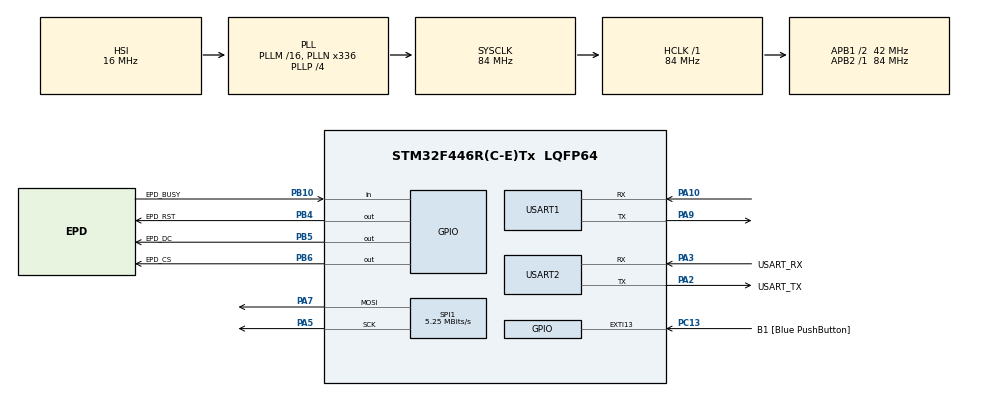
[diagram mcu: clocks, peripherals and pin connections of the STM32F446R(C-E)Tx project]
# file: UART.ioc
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Mcu.Family=STM32F4
Mcu.Name=STM32F446R(C-E)Tx
Mcu.Package=LQFP64
NVIC.PriorityGroup=NVIC_PRIORITYGROUP_0
PA10.Mode=Asynchronous
PA10.Signal=USART1_RX
PA13.GPIO_Label=TMS
PA13.Signal=SYS_JTMS-SWDIO
PA14.GPIO_Label=TCK
PA14.Signal=SYS_JTCK-SWCLK
PA2.GPIO_Label=USART_TX
PA2.Mode=Asynchronous
PA2.Signal=USART2_TX
PA3.GPIO_Label=USART_RX
PA3.Mode=Asynchronous
PA3.Signal=USART2_RX
PA5.Mode=TX_Only_Simplex_Unidirect_Master
PA5.Signal=SPI1_SCK
PA7.Mode=TX_Only_Simplex_Unidirect_Master
PA7.Signal=SPI1_MOSI
PA9.Mode=Asynchronous
PA9.Signal=USART1_TX
PB10.GPIO_Label=EPD_BUSY
PB10.Signal=GPIO_Input
PB3.GPIO_Label=SWO
PB3.Signal=SYS_JTDO-SWO
PB4.GPIO_Label=EPD_RST
PB4.PinState=GPIO_PIN_SET
PB4.Signal=GPIO_Output
PB5.GPIO_Label=EPD_DC
PB5.Signal=GPIO_Output
PB6.GPIO_Label=EPD_CS
PB6.PinState=GPIO_PIN_SET
PB6.Signal=GPIO_Output
PC13.GPIO_Label=B1 [Blue PushButton]
PC13.GPIO_ModeDefaultEXTI=GPIO_MODE_IT_FALLING
PC13.Signal=GPXTI13
PC14-OSC32_IN.Signal=RCC_OSC32_IN
PC15-OSC32_OUT.Signal=RCC_OSC32_OUT
PH0-OSC_IN.Signal=RCC_OSC_IN
PH1-OSC_OUT.Signal=RCC_OSC_OUT
ProjectManager.HeapSize=0x200
ProjectManager.StackSize=0x400
ProjectManager.TargetToolchain=CMake
RCC.AHBFreq_Value=84000000
RCC.APB1CLKDivider=RCC_HCLK_DIV2
RCC.APB1Freq_Value=42000000
RCC.APB1TimFreq_Value=84000000
RCC.APB2Freq_Value=84000000
RCC.APB2TimFreq_Value=84000000
RCC.CortexFreq_Value=84000000
RCC.FLatency-AdvancedSettings=FLASH_LATENCY_2
RCC.HCLKFreq_Value=84000000
RCC.HSE_VALUE=8000000
RCC.HSI_VALUE=16000000
RCC.LSE_VALUE=32768
RCC.PLLN=336
RCC.PLLP=RCC_PLLP_DIV4
RCC.SYSCLKFreq_VALUE=84000000
RCC.SYSCLKSource=RCC_SYSCLKSOURCE_PLLCLK
RCC.USBFreq_Value=168000000
RCC.VCOOutputFreq_Value=336000000
SPI1.BaudRatePrescaler=SPI_BAUDRATEPRESCALER_16
SPI1.CalculateBaudRate=5.25 MBits/s
SPI1.Direction=SPI_DIRECTION_2LINES
SPI1.Mode=SPI_MODE_MASTER
SPI1.VirtualType=VM_MASTER
USART1.VirtualMode=VM_ASYNC
USART2.VirtualMode=VM_ASYNC
board=NUCLEO-F446RE

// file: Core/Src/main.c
/* USER CODE BEGIN Header */
/**
  ******************************************************************************
  * @file           : main.c
  * @brief          : Main program body
  ******************************************************************************
  * @attention
  *
  * Copyright (c) 2026 STMicroelectronics.
  * All rights reserved.
  *
  * This software is licensed under terms that can be found in the LICENSE file
  * in the root directory of this software component.
  * If no LICENSE file comes with this software, it is provided AS-IS.
  *
  ******************************************************************************
  */
/* USER CODE END Header */
#include "main.h"

/* USER CODE BEGIN Includes */
#include "sps30.h"
#include "air_quality.h"
#include "epd.h"
#include "stm32f4xx_hal.h"
#include "stm32f4xx_hal_def.h"
/* USER CODE END Includes */

SPI_HandleTypeDef hspi1;

UART_HandleTypeDef huart1;
UART_HandleTypeDef huart2;

void SystemClock_Config(void);
static void MX_GPIO_Init(void);
static void MX_USART2_UART_Init(void);
static void MX_USART1_UART_Init(void);
static void MX_SPI1_Init(void);

int main(void)
{

  /* MCU Configuration--------------------------------------------------------*/

  /* Reset of all peripherals, Initializes the Flash interface and the Systick. */
  HAL_Init();

  /* Configure the system clock */
  SystemClock_Config();

  /* Initialize all configured peripherals */
  MX_GPIO_Init();
  MX_USART2_UART_Init();
  MX_USART1_UART_Init();
  MX_SPI1_Init();

  /* USER CODE BEGIN 2 */
  HAL_StatusTypeDef return_code;

  // init epaper display
  return_code = epd_init(&hspi1);
  if (return_code != HAL_OK)
  {
    HAL_Delay(1000);
  }
  epd_clear_screen();

  // draw top
  for (uint8_t i = 0; i < 20; ++i)
  {
    epd_draw_pixel(i+10, 5, 0);
  }

  // draw bottom
  for (uint8_t i = 0; i < 20; ++i)
  {
    epd_draw_pixel(i+10, 24, 0);
  }

  // draw right
  for (uint8_t i = 0; i < 20; ++i)
  {
    epd_draw_pixel(29, i+5, 0);
  }

  // draw left
  for (uint8_t i = 0; i < 20; ++i)
  {
    epd_draw_pixel(10, i+5, 0);
  }

  return_code = epd_update_display(&hspi1);
  if (return_code != HAL_OK)
  {
    HAL_Delay(1000);
  }

  // float pm_data[10] = {0}; // holds current pm data
  // uint32_t cycle_start;

  // if ((return_code = device_reset(huart1)) != HAL_OK) // reset device before starting loop
  // {
  //   return return_code;
  // }
  /* USER CODE END 2 */

  /* Infinite loop */
  while (1)
  {

    /* USER CODE BEGIN 3 */

  //   // record start of sampling cycle
    // cycle_start = HAL_GetTick(); // save when measurement started

  //   // collect average pm measurement
  //   return_code = sample_pm_data(huart1, pm_data, 10);

  //   // wait 5 minutes
  //   while ((uint32_t)(HAL_GetTick() - cycle_start) < 300000U)
  //   {
  //     HAL_Delay(1000);
  //   }
  //   if (return_code != HAL_OK)
  //   {
  //     HAL_Delay(5000);
  //   }
  }
  /* USER CODE END 3 */
}

void SystemClock_Config(void)
{
  RCC_OscInitTypeDef RCC_OscInitStruct = {0};
  RCC_ClkInitTypeDef RCC_ClkInitStruct = {0};

  /** Configure the main internal regulator output voltage
  */
  __HAL_RCC_PWR_CLK_ENABLE();
  __HAL_PWR_VOLTAGESCALING_CONFIG(PWR_REGULATOR_VOLTAGE_SCALE3);

  /** Initializes the RCC Oscillators according to the specified parameters
  * in the RCC_OscInitTypeDef structure.
  */
  RCC_OscInitStruct.OscillatorType = RCC_OSCILLATORTYPE_HSI;
  RCC_OscInitStruct.HSIState = RCC_HSI_ON;
  RCC_OscInitStruct.HSICalibrationValue = RCC_HSICALIBRATION_DEFAULT;
  RCC_OscInitStruct.PLL.PLLState = RCC_PLL_ON;
  RCC_OscInitStruct.PLL.PLLSource = RCC_PLLSOURCE_HSI;
  RCC_OscInitStruct.PLL.PLLM = 16;
  RCC_OscInitStruct.PLL.PLLN = 336;
  RCC_OscInitStruct.PLL.PLLP = RCC_PLLP_DIV4;
  RCC_OscInitStruct.PLL.PLLQ = 2;
  RCC_OscInitStruct.PLL.PLLR = 2;
  if (HAL_RCC_OscConfig(&RCC_OscInitStruct) != HAL_OK)
  {
    Error_Handler();
  }

  /** Initializes the CPU, AHB and APB buses clocks
  */
  RCC_ClkInitStruct.ClockType = RCC_CLOCKTYPE_HCLK|RCC_CLOCKTYPE_SYSCLK
                              |RCC_CLOCKTYPE_PCLK1|RCC_CLOCKTYPE_PCLK2;
  RCC_ClkInitStruct.SYSCLKSource = RCC_SYSCLKSOURCE_PLLCLK;
  RCC_ClkInitStruct.AHBCLKDivider = RCC_SYSCLK_DIV1;
  RCC_ClkInitStruct.APB1CLKDivider = RCC_HCLK_DIV2;
  RCC_ClkInitStruct.APB2CLKDivider = RCC_HCLK_DIV1;

  if (HAL_RCC_ClockConfig(&RCC_ClkInitStruct, FLASH_LATENCY_2) != HAL_OK)
  {
    Error_Handler();
  }
}

static void MX_SPI1_Init(void)
{

  /* SPI1 parameter configuration*/
  hspi1.Instance = SPI1;
  hspi1.Init.Mode = SPI_MODE_MASTER;
  hspi1.Init.Direction = SPI_DIRECTION_2LINES;
  hspi1.Init.DataSize = SPI_DATASIZE_8BIT;
  hspi1.Init.CLKPolarity = SPI_POLARITY_LOW;
  hspi1.Init.CLKPhase = SPI_PHASE_1EDGE;
  hspi1.Init.NSS = SPI_NSS_SOFT;
  hspi1.Init.BaudRatePrescaler = SPI_BAUDRATEPRESCALER_16;
  hspi1.Init.FirstBit = SPI_FIRSTBIT_MSB;
  hspi1.Init.TIMode = SPI_TIMODE_DISABLE;
  hspi1.Init.CRCCalculation = SPI_CRCCALCULATION_DISABLE;
  hspi1.Init.CRCPolynomial = 10;
  if (HAL_SPI_Init(&hspi1) != HAL_OK)
  {
    Error_Handler();
  }

}

static void MX_USART1_UART_Init(void)
{

  huart1.Instance = USART1;
  huart1.Init.BaudRate = 115200;
  huart1.Init.WordLength = UART_WORDLENGTH_8B;
  huart1.Init.StopBits = UART_STOPBITS_1;
  huart1.Init.Parity = UART_PARITY_NONE;
  huart1.Init.Mode = UART_MODE_TX_RX;
  huart1.Init.HwFlowCtl = UART_HWCONTROL_NONE;
  huart1.Init.OverSampling = UART_OVERSAMPLING_16;
  if (HAL_UART_Init(&huart1) != HAL_OK)
  {
    Error_Handler();
  }

}

static void MX_USART2_UART_Init(void)
{

  huart2.Instance = USART2;
  huart2.Init.BaudRate = 115200;
  huart2.Init.WordLength = UART_WORDLENGTH_8B;
  huart2.Init.StopBits = UART_STOPBITS_1;
  huart2.Init.Parity = UART_PARITY_NONE;
  huart2.Init.Mode = UART_MODE_TX_RX;
  huart2.Init.HwFlowCtl = UART_HWCONTROL_NONE;
  huart2.Init.OverSampling = UART_OVERSAMPLING_16;
  if (HAL_UART_Init(&huart2) != HAL_OK)
  {
    Error_Handler();
  }

}

static void MX_GPIO_Init(void)
{
  GPIO_InitTypeDef GPIO_InitStruct = {0};

  /* GPIO Ports Clock Enable */
  __HAL_RCC_GPIOC_CLK_ENABLE();
  __HAL_RCC_GPIOH_CLK_ENABLE();
  __HAL_RCC_GPIOA_CLK_ENABLE();
  __HAL_RCC_GPIOB_CLK_ENABLE();

  /*Configure GPIO pin Output Level */
  HAL_GPIO_WritePin(GPIOB, EPD_RST_Pin|EPD_CS_Pin, GPIO_PIN_SET);

  /*Configure GPIO pin Output Level */
  HAL_GPIO_WritePin(EPD_DC_GPIO_Port, EPD_DC_Pin, GPIO_PIN_RESET);

  /*Configure GPIO pin : B1_Pin */
  GPIO_InitStruct.Pin = B1_Pin;
  GPIO_InitStruct.Mode = GPIO_MODE_IT_FALLING;
  GPIO_InitStruct.Pull = GPIO_NOPULL;
  HAL_GPIO_Init(B1_GPIO_Port, &GPIO_InitStruct);

  /*Configure GPIO pin : EPD_BUSY_Pin */
  GPIO_InitStruct.Pin = EPD_BUSY_Pin;
  GPIO_InitStruct.Mode = GPIO_MODE_INPUT;
  GPIO_InitStruct.Pull = GPIO_NOPULL;
  HAL_GPIO_Init(EPD_BUSY_GPIO_Port, &GPIO_InitStruct);

  /*Configure GPIO pins : EPD_RST_Pin EPD_DC_Pin EPD_CS_Pin */
  GPIO_InitStruct.Pin = EPD_RST_Pin|EPD_DC_Pin|EPD_CS_Pin;
  GPIO_InitStruct.Mode = GPIO_MODE_OUTPUT_PP;
  GPIO_InitStruct.Pull = GPIO_NOPULL;
  GPIO_InitStruct.Speed = GPIO_SPEED_FREQ_LOW;
  HAL_GPIO_Init(GPIOB, &GPIO_InitStruct);

}

void Error_Handler(void)
{
  __disable_irq();
  while (1)
  {
  }
}
